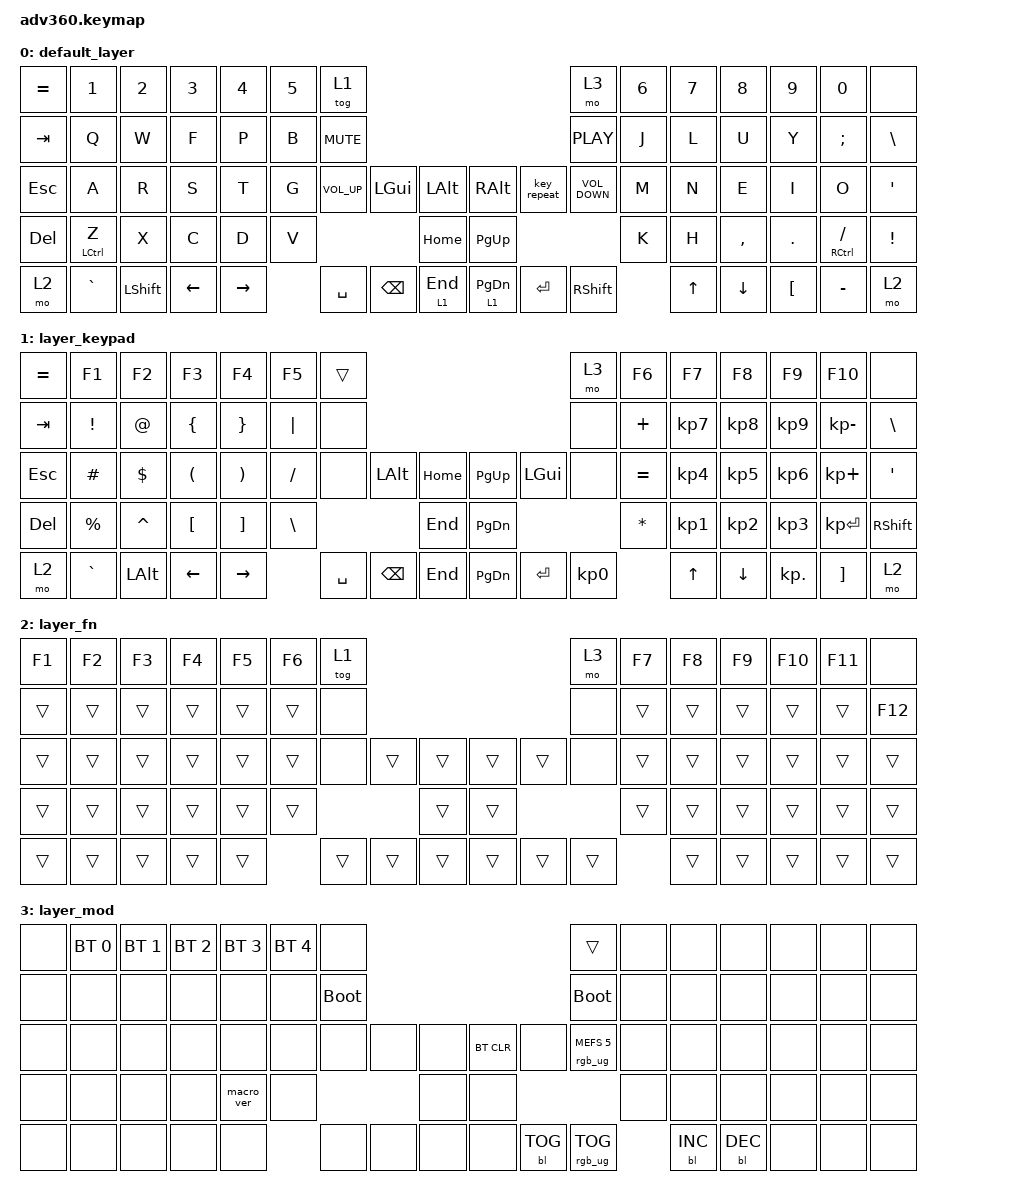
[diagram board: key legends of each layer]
/*
 * Copyright (c) 2020 The ZMK Contributors
 *
 * SPDX-License-Identifier: MIT
 */
/* THIS FILE WAS GENERATED!
 *
 * This file was generated automatically. You may or may not want to
 * edit it directly.
 */

#include <behaviors.dtsi>
#include <dt-bindings/zmk/backlight.h>
#include <dt-bindings/zmk/bt.h>
#include <dt-bindings/zmk/keys.h>
#include <dt-bindings/zmk/rgb.h>

/ {
    behaviors {
        #include "macros.dtsi"
    #include "version.dtsi"

        hm: homerow_mods {
            compatible = "zmk,behavior-hold-tap";
            label = "HOMEROW_MODS";
            #binding-cells = <2>;
            tapping-term-ms = <200>;
            quick_tap_ms = <175>;
            flavor = "tap-preferred";
            bindings = <&kp>, <&kp>;
        };

        hml: hml {
            compatible = "zmk,behavior-hold-tap";
            label = "HML";
            #binding-cells = <2>;
            tapping-term-ms = <200>;
            quick_tap_ms = <175>;
            flavor = "tap-preferred";
            bindings = <&mo>, <&kp>;
        };
    };

    macros {
        shift_alt_macro: shift_alt_macro {
            compatible = "zmk,behavior-macro";
            #binding-cells = <0>;
            bindings = <&macro_press>, <&kp LEFT_SHIFT &kp LEFT_ALT>;

            label = "SHIFT_ALT_MACRO";
        };
    };

    keymap {
        compatible = "zmk,keymap";

        default_layer {
            bindings = <
&kp EQUAL   &kp N1              &kp N2          &kp N3    &kp N4     &kp N5  &tog 1                                                                           &mo 3              &kp N6  &kp N7  &kp N8     &kp N9      &kp N0                   &none
&kp TAB     &kp Q               &kp W           &kp F     &kp P      &kp B   &kp C_MUTE                                                                       &kp C_PLAY         &kp J   &kp L   &kp U      &kp Y       &kp SEMI                 &kp BSLH
&kp ESC     &kp A               &kp R           &kp S     &kp T      &kp G   &kp C_VOLUME_UP  &kp LEFT_GUI   &kp LEFT_ALT      &kp RIGHT_ALT     &key_repeat  &kp C_VOLUME_DOWN  &kp M   &kp N   &kp E      &kp I       &kp O                    &kp SQT
&kp DELETE  &hm LEFT_CONTROL Z  &kp X           &kp C     &kp D      &kp V                                   &kp HOME          &kp PAGE_UP                                       &kp K   &kp H   &kp COMMA  &kp PERIOD  &hm RIGHT_CONTROL SLASH  &kp EXCL
&mo 2       &kp GRAVE           &kp LEFT_SHIFT  &kp LEFT  &kp RIGHT          &kp SPACE        &kp BACKSPACE  &hml 1 END        &hml 1 PAGE_DOWN  &kp ENTER    &kp RIGHT_SHIFT            &kp UP  &kp DOWN   &kp LBKT    &kp MINUS                &mo 2
            >;
        };

        layer_keypad {
            bindings = <
&kp EQUAL   &kp F1           &kp F2        &kp F3                &kp F4                 &kp F5         &trans                                                            &mo 3      &kp F6        &kp F7     &kp F8     &kp F9      &kp F10       &none
&kp TAB     &kp EXCLAMATION  &kp AT_SIGN   &kp LEFT_BRACE        &kp RIGHT_BRACE        &kp PIPE       &none                                                             &none      &kp PLUS      &kp KP_N7  &kp KP_N8  &kp KP_N9   &kp KP_MINUS  &kp BSLH
&kp ESC     &kp POUND        &kp DOLLAR    &kp LEFT_PARENTHESIS  &kp RIGHT_PARENTHESIS  &kp SLASH      &none      &kp LALT       &kp HOME      &kp PAGE_UP    &kp LGUI   &none      &kp EQUAL     &kp KP_N4  &kp KP_N5  &kp KP_N6   &kp KP_PLUS   &kp SQT
&kp DELETE  &kp PERCENT      &kp CARET     &kp LEFT_BRACKET      &kp RIGHT_BRACKET      &kp BACKSLASH                            &kp END       &kp PAGE_DOWN                        &kp ASTERISK  &kp KP_N1  &kp KP_N2  &kp KP_N3   &kp KP_ENTER  &kp RSHFT
&mo 2       &kp GRAVE        &kp LEFT_ALT  &kp LEFT              &kp RIGHT                             &kp SPACE  &kp BACKSPACE  &kp END       &kp PG_DN      &kp ENTER  &kp KP_N0                &kp UP     &kp DOWN   &kp KP_DOT  &kp RBKT      &mo 2
            >;
        };

        layer_fn {
            bindings = <
&kp F1  &kp F2  &kp F3  &kp F4  &kp F5  &kp F6  &tog 1                                      &mo 3   &kp F7  &kp F8  &kp F9  &kp F10  &kp F11  &none
&trans  &trans  &trans  &trans  &trans  &trans  &none                                       &none   &trans  &trans  &trans  &trans   &trans   &kp F12
&trans  &trans  &trans  &trans  &trans  &trans  &none   &trans  &trans      &trans  &trans  &none   &trans  &trans  &trans  &trans   &trans   &trans
&trans  &trans  &trans  &trans  &trans  &trans                  &trans      &trans                  &trans  &trans  &trans  &trans   &trans   &trans
&trans  &trans  &trans  &trans  &trans          &trans  &trans  &trans      &trans  &trans  &trans          &trans  &trans  &trans   &trans   &trans
            >;
        };

        layer_mod {
            bindings = <
&none  &bt BT_SEL 0  &bt BT_SEL 1  &bt BT_SEL 2  &bt BT_SEL 3  &bt BT_SEL 4  &none                                                  &trans                  &none  &none       &none       &none  &none  &none
&none  &none         &none         &none         &none         &none         &bootloader                                            &bootloader             &none  &none       &none       &none  &none  &none
&none  &none         &none         &none         &none         &none         &none        &none  &none      &bt BT_CLR  &none       &rgb_ug RGB_MEFS_CMD 5  &none  &none       &none       &none  &none  &none
&none  &none         &none         &none         &macro_ver    &none                             &none      &none                                           &none  &none       &none       &none  &none  &none
&none  &none         &none         &none         &none                       &none        &none  &none      &none       &bl BL_TOG  &rgb_ug RGB_TOG                &bl BL_INC  &bl BL_DEC  &none  &none  &none
            >;
        };
    };
};
